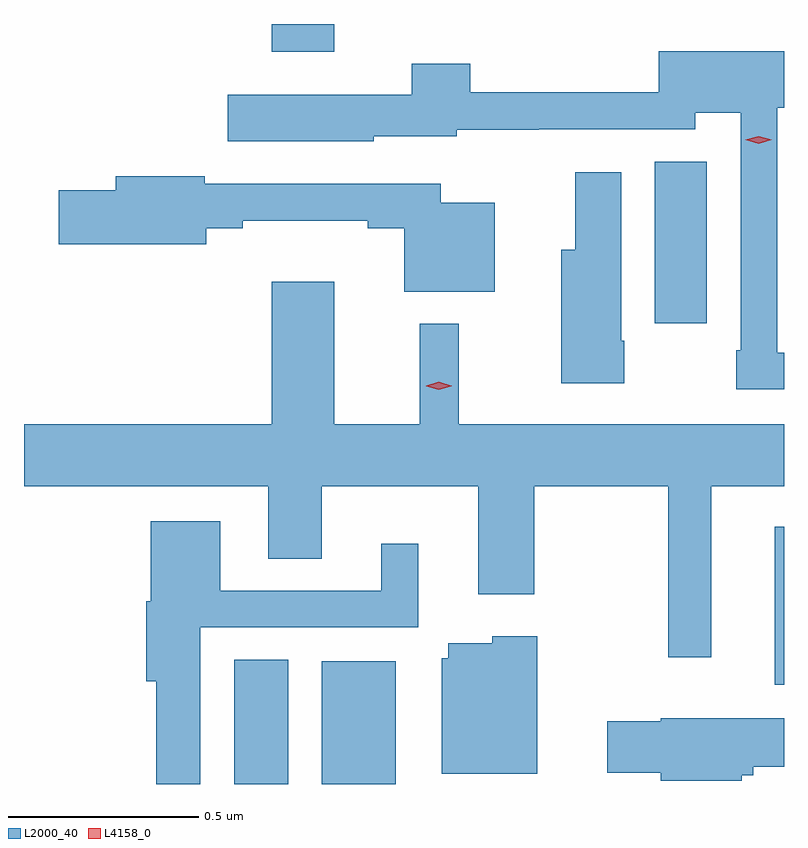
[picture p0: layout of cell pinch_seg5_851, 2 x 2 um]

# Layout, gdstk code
import gdstk
lib = gdstk.Library(unit=1e-6, precision=1e-09)
def R(c, l, rs):  # rectangles x0, y0, x1, y1
    for r in rs: c.add(gdstk.rectangle(r[:2], r[2:], *l))
def P(c, l, *ps):  # polygons
    for p in ps: c.add(gdstk.Polygon(p, *l))
L2000_40 = (2000, 40)
L4158_0 = (4158, 0)

pinch_seg5_851 = lib.new_cell('pinch_seg5_851')
R(pinch_seg5_851, L2000_40, [(764.309,886.613,764.452,886.94), (764.54,886.613,764.734,886.936), (765.731,886.874,765.756,887.29), (765.416,887.826,765.553,888.251), (764.408,888.54,764.572,888.613)])
P(pinch_seg5_851, L2000_40, [(765.756,887.748),(765.738,887.748),(765.738,888.392),(765.756,888.392),(765.756,888.541),(765.426,888.541),(765.426,888.434),(764.93,888.434),(764.93,888.508),(764.777,888.508),(764.777,888.427),(764.292,888.427),(764.292,888.305),(764.676,888.305),(764.676,888.318),(764.895,888.318),(764.895,888.335),(765.11,888.335),(765.11,888.336),(765.522,888.336),(765.522,888.38),(765.642,888.38),(765.642,887.755),(765.63,887.755),(765.63,887.652),(765.756,887.652)],
  [(765.336,887.779),(765.328,887.779),(765.328,888.223),(765.206,888.223),(765.206,888.019),(765.17,888.019),(765.17,887.667),(765.336,887.667)],
  [(764.995,888.142),(764.853,888.142),(764.853,888.192),(764.232,888.192),(764.232,888.212),(763.997,888.212),(763.997,888.176),(763.848,888.176),(763.848,888.034),(764.236,888.034),(764.236,888.076),(764.332,888.076),(764.332,888.095),(764.66,888.095),(764.66,888.076),(764.757,888.076),(764.757,887.909),(764.995,887.909)],
  [(765.565,887.396),(765.756,887.396),(765.756,887.56),(764.9,887.56),(764.9,887.824),(764.797,887.824),(764.797,887.56),(764.572,887.56),(764.572,887.935),(764.408,887.935),(764.408,887.56),(763.756,887.56),(763.756,887.396),(764.399,887.396),(764.399,887.206),(764.539,887.206),(764.539,887.396),(764.951,887.396),(764.951,887.112),(765.099,887.112),(765.099,887.396),(765.451,887.396),(765.451,886.947),(765.565,886.947)],
  [(764.22,887.025),(764.794,887.025),(764.794,887.245),(764.696,887.245),(764.696,887.121),(764.272,887.121),(764.272,887.305),(764.09,887.305),(764.09,887.094),(764.078,887.094),(764.078,886.883),(764.104,886.883),(764.104,886.613),(764.22,886.613)],
  [(765.106,887.002),(764.988,887.002),(764.988,886.984),(764.873,886.984),(764.873,886.944),(764.855,886.944),(764.855,886.64),(765.106,886.64)],
  [(765.645,886.636),(765.675,886.636),(765.675,886.658),(765.756,886.658),(765.756,886.786),(765.432,886.786),(765.432,886.778),(765.291,886.778),(765.291,886.643),(765.432,886.643),(765.432,886.622),(765.645,886.622)])
P(pinch_seg5_851, L4158_0, [(765.689,888.298),(765.654,888.308),(765.654,888.308),(765.654,888.308),(765.689,888.318),(765.724,888.308),(765.724,888.308),(765.724,888.308)],
  [(764.847,887.651),(764.814,887.66),(764.814,887.661),(764.814,887.661),(764.847,887.671),(764.88,887.661),(764.881,887.661),(764.88,887.66)])

lib.write_gds('pinch_seg5_851.gds')
